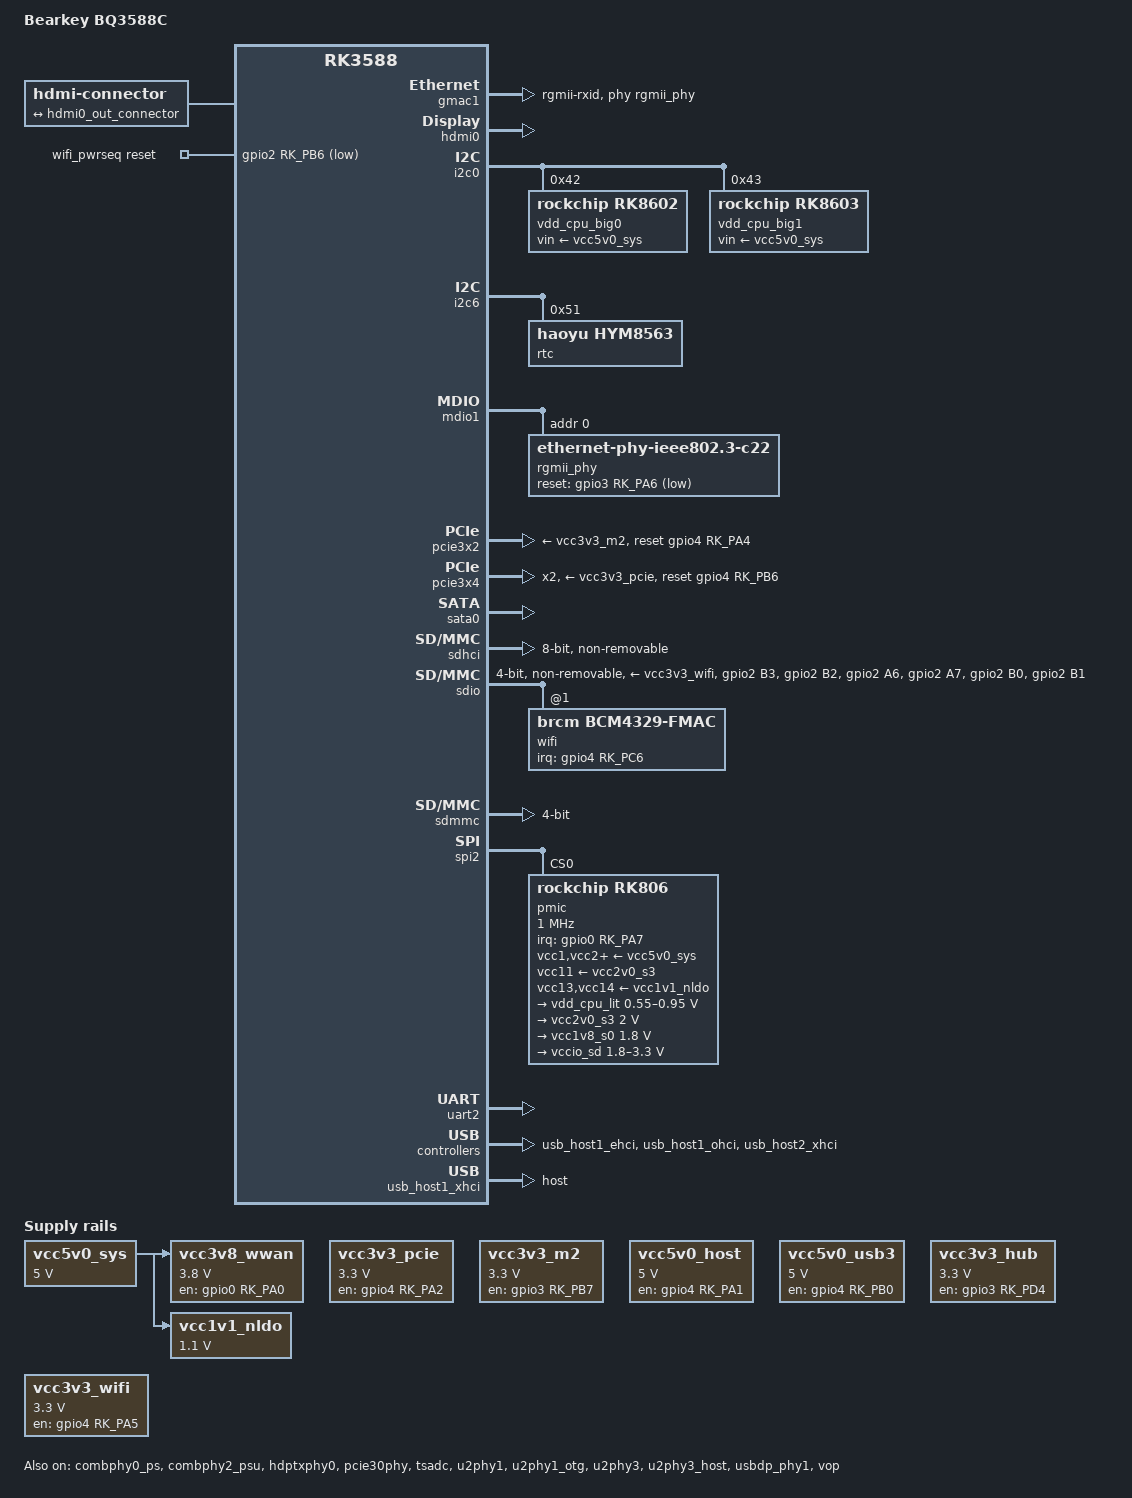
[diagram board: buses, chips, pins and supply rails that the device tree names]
// SPDX-License-Identifier: (GPL-2.0+ OR MIT)
/dts-v1/;

#include <dt-bindings/gpio/gpio.h>
#include <dt-bindings/interrupt-controller/irq.h>
#include <dt-bindings/pinctrl/rockchip.h>
#include <dt-bindings/soc/rockchip,vop2.h>
#include "rk3588.dtsi"

/ {
	model = "Bearkey BQ3588C";
	compatible = "bearkey,bq3588c", "rockchip,rk3588";

	aliases {
		ethernet0 = &gmac1;
		mmc0 = &sdhci;
		mmc1 = &sdmmc;
		mmc2 = &sdio;
	};

	chosen {
		stdout-path = "serial2:1500000n8";
	};

	connector {
		compatible = "hdmi-connector";
		type = "a";

		port {
			hdmi0_connector_in: endpoint {
				remote-endpoint = <&hdmi0_out_connector>;
			};
		};
	};

	vcc5v0_sys: regulator-vcc5v0-sys {
		compatible = "regulator-fixed";
		regulator-name = "vcc5v0_sys";
		regulator-min-microvolt = <5000000>;
		regulator-max-microvolt = <5000000>;
		regulator-always-on;
	};

	vcc3v8_wwan: regulator-vcc3v8-wwan {
		compatible = "regulator-fixed";
		regulator-name = "vcc3v8_wwan";
		regulator-min-microvolt = <3800000>;
		regulator-max-microvolt = <3800000>;
		vin-supply = <&vcc5v0_sys>;
		gpio = <&gpio0 RK_PA0 GPIO_ACTIVE_HIGH>;
		enable-active-high;
		pinctrl-names = "default";
		pinctrl-0 = <&wwan_control>;
		regulator-boot-on;
		regulator-always-on;
	};

	vcc1v1_nldo: regulator-vcc1v1-nldo {
		compatible = "regulator-fixed";
		regulator-name = "vcc_1v1_nldo_s3";
		regulator-min-microvolt = <1100000>;
		regulator-max-microvolt = <1100000>;
		vin-supply = <&vcc5v0_sys>;
		regulator-always-on;
	};

	vcc3v3_pcie: regulator-vcc3v3-pcie {
		compatible = "regulator-fixed";
		regulator-name = "vcc3v3_pcie30";
		regulator-min-microvolt = <3300000>;
		regulator-max-microvolt = <3300000>;
		gpio = <&gpio4 RK_PA2 GPIO_ACTIVE_HIGH>;
		enable-active-high;
		startup-delay-us = <5000>;
	};

	vcc3v3_m2: regulator-vcc3v3-m2 {
		compatible = "regulator-fixed";
		regulator-name = "vcc3v3_m2";
		regulator-min-microvolt = <3300000>;
		regulator-max-microvolt = <3300000>;
		gpio = <&gpio3 RK_PB7 GPIO_ACTIVE_HIGH>;
		enable-active-high;
		startup-delay-us = <5000>;
	};

	vcc5v0_host: regulator-vcc5v0-host {
		compatible = "regulator-fixed";
		regulator-name = "vcc5v0_host";
		regulator-min-microvolt = <5000000>;
		regulator-max-microvolt = <5000000>;
		gpio = <&gpio4 RK_PA1 GPIO_ACTIVE_HIGH>;
		enable-active-high;
		regulator-always-on;
	};

	vcc5v0_usb3: regulator-vcc5v0-usb3 {
		compatible = "regulator-fixed";
		regulator-name = "vcc5v0_usb3";
		regulator-min-microvolt = <5000000>;
		regulator-max-microvolt = <5000000>;
		gpio = <&gpio4 RK_PB0 GPIO_ACTIVE_HIGH>;
		enable-active-high;
		regulator-always-on;
	};

	regulator-vcc3v3-hub {
		compatible = "regulator-fixed";
		regulator-name = "vcc3v3_hub";
		regulator-min-microvolt = <3300000>;
		regulator-max-microvolt = <3300000>;
		gpio = <&gpio3 RK_PD4 GPIO_ACTIVE_HIGH>;
		enable-active-high;
		regulator-always-on;
	};

	vcc3v3_wifi: regulator-vcc3v3-wifi {
		compatible = "regulator-fixed";
		regulator-name = "vcc3v3_wifi";
		regulator-min-microvolt = <3300000>;
		regulator-max-microvolt = <3300000>;
		gpio = <&gpio4 RK_PA5 GPIO_ACTIVE_HIGH>;
		enable-active-high;
		startup-delay-us = <5000>;
	};

	wifi_pwrseq: wifi-pwrseq {
		compatible = "mmc-pwrseq-simple";
		clocks = <&rtc>;
		clock-names = "ext_clock";
		reset-gpios = <&gpio2 RK_PB6 GPIO_ACTIVE_LOW>;
		post-power-on-delay-ms = <200>;
	};
};

&combphy0_ps {
	status = "okay";
};

&combphy2_psu {
	status = "okay";
};

&cpu_l0 { cpu-supply = <&vdd_cpu_lit>; };
&cpu_l1 { cpu-supply = <&vdd_cpu_lit>; };
&cpu_l2 { cpu-supply = <&vdd_cpu_lit>; };
&cpu_l3 { cpu-supply = <&vdd_cpu_lit>; };
&cpu_b0 { cpu-supply = <&vdd_cpu_big0>; };
&cpu_b1 { cpu-supply = <&vdd_cpu_big0>; };
&cpu_b2 { cpu-supply = <&vdd_cpu_big1>; };
&cpu_b3 { cpu-supply = <&vdd_cpu_big1>; };

&gmac1 {
	clock_in_out = "output";
	phy-handle = <&rgmii_phy>;
	phy-mode = "rgmii-rxid";
	pinctrl-names = "default";
	pinctrl-0 = <&gmac1_miim &gmac1_tx_bus2 &gmac1_rx_bus2
		     &gmac1_rgmii_clk &gmac1_rgmii_bus>;
	tx_delay = <0x33>;
	status = "okay";
};

&hdmi0 {
	frl-enable-gpios = <&gpio4 RK_PB1 GPIO_ACTIVE_LOW>;
	status = "okay";
};

&hdmi0_in {
	hdmi0_in_vp0: endpoint {
		remote-endpoint = <&vp0_out_hdmi0>;
	};
};

&hdmi0_out {
	hdmi0_out_connector: endpoint {
		remote-endpoint = <&hdmi0_connector_in>;
	};
};

&hdptxphy0 {
	status = "okay";
};

&i2c0 {
	pinctrl-names = "default";
	pinctrl-0 = <&i2c0m2_xfer>;
	status = "okay";

	vdd_cpu_big0: regulator@42 {
		compatible = "rockchip,rk8602";
		reg = <0x42>;
		vin-supply = <&vcc5v0_sys>;
		regulator-name = "vdd_cpu_big0_s0";
		regulator-min-microvolt = <550000>;
		regulator-max-microvolt = <1050000>;
		regulator-ramp-delay = <2300>;
		rockchip,suspend-voltage-selector = <1>;
		regulator-always-on;
	};

	vdd_cpu_big1: regulator@43 {
		compatible = "rockchip,rk8603";
		reg = <0x43>;
		vin-supply = <&vcc5v0_sys>;
		regulator-name = "vdd_cpu_big1_s0";
		regulator-min-microvolt = <550000>;
		regulator-max-microvolt = <1050000>;
		regulator-ramp-delay = <2300>;
		rockchip,suspend-voltage-selector = <1>;
		regulator-always-on;
	};
};

&i2c6 {
	pinctrl-names = "default";
	pinctrl-0 = <&i2c6m0_xfer>;
	status = "okay";

	rtc: rtc@51 {
		compatible = "haoyu,hym8563";
		reg = <0x51>;
		#clock-cells = <0>;
		clock-output-names = "hym8563";
	};
};

&mdio1 {
	rgmii_phy: ethernet-phy@0 {
		compatible = "ethernet-phy-ieee802.3-c22";
		reg = <0>;
		reset-gpios = <&gpio3 RK_PA6 GPIO_ACTIVE_LOW>;
		reset-assert-us = <20000>;
		reset-deassert-us = <100000>;
	};
};

&pcie30phy {
	data-lanes = <1 1 2 2>;
	status = "okay";
};

&pcie3x2 {
	reset-gpios = <&gpio4 RK_PA4 GPIO_ACTIVE_HIGH>;
	vpcie3v3-supply = <&vcc3v3_m2>;
	status = "okay";
};

&pcie3x4 {
	num-lanes = <2>;
	reset-gpios = <&gpio4 RK_PB6 GPIO_ACTIVE_HIGH>;
	vpcie3v3-supply = <&vcc3v3_pcie>;
	status = "okay";
};

&pinctrl {
	wwan {
		wwan_control: wwan-control {
			rockchip,pins =
				<1 RK_PB4 RK_FUNC_GPIO &pcfg_output_low>,
				<1 RK_PB5 RK_FUNC_GPIO &pcfg_output_low>,
				<1 RK_PA6 RK_FUNC_GPIO &pcfg_output_high>;
		};
	};

	sdio {
		sdiom0_pins: sdiom0-pins {
			rockchip,pins =
				<2 RK_PB3 2 &pcfg_pull_none>,
				<2 RK_PB2 2 &pcfg_pull_up>,
				<2 RK_PA6 2 &pcfg_pull_up>,
				<2 RK_PA7 2 &pcfg_pull_up>,
				<2 RK_PB0 2 &pcfg_pull_up>,
				<2 RK_PB1 2 &pcfg_pull_up>;
		};
	};
};

&sata0 {
	status = "okay";
};

&sdhci {
	bus-width = <8>;
	mmc-hs400-1_8v;
	mmc-hs400-enhanced-strobe;
	no-sd;
	no-sdio;
	non-removable;
	status = "okay";
};

&sdio {
	#address-cells = <1>;
	#size-cells = <0>;
	bus-width = <4>;
	cap-sdio-irq;
	keep-power-in-suspend;
	mmc-pwrseq = <&wifi_pwrseq>;
	no-mmc;
	no-sd;
	non-removable;
	pinctrl-names = "default";
	pinctrl-0 = <&sdiom0_pins>;
	sd-uhs-sdr104;
	vmmc-supply = <&vcc3v3_wifi>;
	vqmmc-supply = <&vcc1v8_s0>;
	status = "okay";

	wifi@1 {
		compatible = "brcm,bcm4329-fmac";
		reg = <1>;
		interrupt-parent = <&gpio4>;
		interrupts = <RK_PC6 IRQ_TYPE_LEVEL_HIGH>;
		interrupt-names = "host-wake";
	};
};

&sdmmc {
	bus-width = <4>;
	cap-sd-highspeed;
	disable-wp;
	no-mmc;
	no-sdio;
	pinctrl-names = "default";
	pinctrl-0 = <&sdmmc_bus4 &sdmmc_clk &sdmmc_cmd &sdmmc_det>;
	sd-uhs-sdr104;
	vqmmc-supply = <&vccio_sd>;
	status = "okay";
};

&spi2 {
	assigned-clocks = <&cru CLK_SPI2>;
	assigned-clock-rates = <200000000>;
	num-cs = <1>;
	pinctrl-names = "default";
	pinctrl-0 = <&spi2m2_cs0 &spi2m2_pins>;
	status = "okay";

	pmic@0 {
		compatible = "rockchip,rk806";
		reg = <0>;
		spi-max-frequency = <1000000>;
		interrupt-parent = <&gpio0>;
		interrupts = <RK_PA7 IRQ_TYPE_LEVEL_LOW>;
		vcc1-supply = <&vcc5v0_sys>;
		vcc2-supply = <&vcc5v0_sys>;
		vcc3-supply = <&vcc5v0_sys>;
		vcc4-supply = <&vcc5v0_sys>;
		vcc5-supply = <&vcc5v0_sys>;
		vcc6-supply = <&vcc5v0_sys>;
		vcc7-supply = <&vcc5v0_sys>;
		vcc8-supply = <&vcc5v0_sys>;
		vcc9-supply = <&vcc5v0_sys>;
		vcc10-supply = <&vcc5v0_sys>;
		vcc11-supply = <&vcc2v0_s3>;
		vcc12-supply = <&vcc5v0_sys>;
		vcc13-supply = <&vcc1v1_nldo>;
		vcc14-supply = <&vcc1v1_nldo>;
		vcca-supply = <&vcc5v0_sys>;
		system-power-controller;

		regulators {
			vdd_cpu_lit: dcdc-reg2 {
				regulator-name = "vdd_cpu_lit_s0";
				regulator-min-microvolt = <550000>;
				regulator-max-microvolt = <950000>;
				regulator-ramp-delay = <12500>;
				regulator-always-on;
			};

			vcc2v0_s3: dcdc-reg7 {
				regulator-name = "vdd_2v0_pldo_s3";
				regulator-min-microvolt = <2000000>;
				regulator-max-microvolt = <2000000>;
				regulator-always-on;
			};

			vcc1v8_s0: pldo-reg2 {
				regulator-name = "vcc_1v8_s0";
				regulator-min-microvolt = <1800000>;
				regulator-max-microvolt = <1800000>;
				regulator-always-on;
			};

			vccio_sd: pldo-reg5 {
				regulator-name = "vccio_sd_s0";
				regulator-min-microvolt = <1800000>;
				regulator-max-microvolt = <3300000>;
				regulator-always-on;
			};
		};
	};
};

&tsadc {
	status = "okay";
};

&uart2 {
	pinctrl-names = "default";
	pinctrl-0 = <&uart2m0_xfer>;
	status = "okay";
};

&u2phy1 { status = "okay"; };
&u2phy1_otg {
	phy-supply = <&vcc5v0_usb3>;
	status = "okay";
};

&u2phy3 { status = "okay"; };
&u2phy3_host {
	phy-supply = <&vcc5v0_host>;
	status = "okay";
};

&usbdp_phy1 { status = "okay"; };
&usb_host1_ehci { status = "okay"; };
&usb_host1_ohci { status = "okay"; };

&usb_host1_xhci {
	dr_mode = "host";
	status = "okay";
};

/* The B-Key modem is connected to this dedicated SuperSpeed host. */
&usb_host2_xhci {
	status = "okay";
};

&vop { status = "okay"; };
&vop_mmu { status = "okay"; };

&vp0 {
	vp0_out_hdmi0: endpoint@ROCKCHIP_VOP2_EP_HDMI0 {
		reg = <ROCKCHIP_VOP2_EP_HDMI0>;
		remote-endpoint = <&hdmi0_in_vp0>;
	};
};
